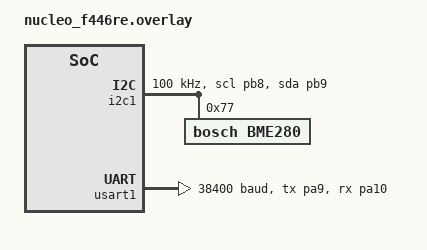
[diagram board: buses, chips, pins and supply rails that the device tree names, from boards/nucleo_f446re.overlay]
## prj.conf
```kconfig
CONFIG_SENSOR=y
CONFIG_SENSOR_ASYNC_API=y
CONFIG_NEWLIB_LIBC=y
CONFIG_NEWLIB_LIBC_FLOAT_PRINTF=y
CONFIG_UART_INTERRUPT_DRIVEN=y
CONFIG_MAIN_STACK_SIZE=4096
```

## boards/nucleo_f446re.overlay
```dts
/* File: nucleo_f446re.overlay */
/ {
    zephyr {
        chosen {
           zephyr,sensor = &bme280;
        };
     };
};

/* I2C1 On NUCLEO-F446RE (pins PB8=SCL, PB9=SDA) */
&i2c1 {
     status = "okay";
     clock-frequency = <I2C_BITRATE_STANDARD>;  /*100 kHz */
     pinctrl-0 = <&i2c1_scl_pb8 &i2c1_sda_pb9>;
     pinctrl-names = "default";

     bme280: bme280@77 {
        compatible = "bosch,bme280";
        reg = <0x77>;                   /*I2C address:0x76 (use 0x77 if needed) */
        label = "BME280";
     };
};
/* USART1 on NUCLEO-F446RE (pins PA9=TX, PA10=RX) — WE10 WiFi module */
&usart1 {
    status = "okay";
    current-speed = <38400>;   /* set to WE10's actual baud rate */
    pinctrl-0 = <&usart1_tx_pa9 &usart1_rx_pa10>;
    pinctrl-names = "default";
};
```

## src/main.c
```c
/*
 * Copyright (c) 2012-2014 Wind River Systems, Inc.
 * Copyright (c) 2021 Nordic Semiconductor ASA
 *
 * SPDX-License-Identifier: Apache-2.0
 */
#include <zephyr/kernel.h>
#include <zephyr/device.h>
#include <zephyr/devicetree.h>
#include <zephyr/drivers/sensor.h>
#include <zephyr/drivers/sensor_data_types.h>
#include <zephyr/rtio/rtio.h>
#include <zephyr/dsp/print_format.h>
#include <math.h>
#include <stdio.h>

#include "we10.h"

#define SEA_LEVEL_PRESSURE_HPA 1013.25



#define WIFI_SSID     "Hero"
#define WIFI_PASSWORD "hero1234"

#define MQTT_CLIENT_ID "mqtt-dokulamohitkumar-9wkkrs"
#define MQTT_BROKER    "dev.rightech.io"
#define MQTT_PORT      1883

const struct device *const dev = DEVICE_DT_GET_ANY(bosch_bme280);

SENSOR_DT_READ_IODEV(iodev, DT_COMPAT_GET_ANY_STATUS_OKAY(bosch_bme280),
                {SENSOR_CHAN_AMBIENT_TEMP, 0},
                {SENSOR_CHAN_PRESS, 0});

RTIO_DEFINE(ctx, 1, 1);

static const struct device *check_bmp280_device(void)
{
        if (dev == NULL) {
                printk("\nError: no device found.\n");
                return NULL;
        }
        if (!device_is_ready(dev)) {
                printk("\nError: Device \"%s\" is not ready; "
                       "check the driver initialization logs for errors.\n",
                       dev->name);
                return NULL;
        }
        printk("Found device \"%s\", getting sensor data\n", dev->name);
        return dev;
}

static double q31_to_double(int32_t q, int8_t shift)
{
        return (double)q * pow(2.0, shift - 31);
}

static double calculate_altitude(double pressure_hpa)
{
        return 44330.0 * (1.0 - pow(pressure_hpa / SEA_LEVEL_PRESSURE_HPA, 1.0 / 5.255));
}

static int we10_setup(void)
{
        int ret;

        ret = we10_init();
        if (ret != 0) {
                printk("WE10: init failed: %d\n", ret);
                return ret;
        }

        printk("WE10: waiting for module ready...\n");
        ret = we10_wait_ready(5000);
        if (ret != 0) {
                printk("WE10: module did not report ready: %d\n", ret);
                return ret;
        }

        printk("WE10: connecting to WiFi \"%s\"...\n", WIFI_SSID);
        ret = we10_connect_wifi(WIFI_SSID, WIFI_PASSWORD, 15000);
        if (ret != 0) {
                printk("WE10: WiFi connect failed: %d\n", ret);
                return ret;
        }

        printk("WE10: connecting to MQTT broker \"%s\"...\n", MQTT_BROKER);
        ret = we10_mqtt_connect(MQTT_CLIENT_ID, MQTT_BROKER, MQTT_PORT, 10000);
        if (ret != 0) {
                printk("WE10: MQTT connect failed: %d\n", ret);
                return ret;
        }

        printk("WE10: MQTT connected, ready to publish\n");
        return 0;
}

int main(void)
{
        const struct device *dev = check_bmp280_device();

        if (dev == NULL) {
                return 0;
        }

        bool mqtt_ready = (we10_setup() == 0);

        if (!mqtt_ready) {
                printk("WE10: continuing without MQTT publish (sensor-only mode)\n");
        }

        while (1) {
                uint8_t buf[128];
                int rc = sensor_read(&iodev, &ctx, buf, 128);

                if (rc != 0) {
                        printk("%s: sensor_read() failed: %d\n", dev->name, rc);
                        return rc;
                }

                const struct sensor_decoder_api *decoder;

                rc = sensor_get_decoder(dev, &decoder);
                if (rc != 0) {
                        printk("%s: sensor_get_decode() failed: %d\n", dev->name, rc);
                        return rc;
                }

                uint32_t temp_fit = 0;
                struct sensor_q31_data temp_data = {0};

                decoder->decode(buf,
                        (struct sensor_chan_spec) {SENSOR_CHAN_AMBIENT_TEMP, 0},
                        &temp_fit, 1, &temp_data);

                uint32_t press_fit = 0;
                struct sensor_q31_data press_data = {0};

                decoder->decode(buf,
                        (struct sensor_chan_spec) {SENSOR_CHAN_PRESS, 0},
                        &press_fit, 1, &press_data);

                double pressure_kpa = q31_to_double(press_data.readings[0].pressure,
                                                     press_data.shift);
                double pressure_hpa = pressure_kpa * 10.0;
                double altitude = calculate_altitude(pressure_hpa);

                printk("temp: %s%d.%d; press: %s%d.%d kPa; altitude: %d.%d m\n",
                        PRIq_arg(temp_data.readings[0].temperature, 6, temp_data.shift),
                        PRIq_arg(press_data.readings[0].pressure, 6, press_data.shift),
                        (int)altitude, (int)((altitude - (int)altitude) * 100));

                if (mqtt_ready) {
                        char payload[32];
                        double temp_c = q31_to_double(temp_data.readings[0].temperature,
                                                       temp_data.shift);

                        snprintf(payload, sizeof(payload), "%d.%d",
                                (int)temp_c,
                                (int)((temp_c - (int)temp_c) * 100));
                        we10_mqtt_publish("base/state/temperature", payload);

                        snprintf(payload, sizeof(payload), "%d.%d",
                                 (int)pressure_hpa,
                                 (int)((pressure_hpa - (int)pressure_hpa) * 100));
                        we10_mqtt_publish("base/state/pressure", payload);

                        snprintf(payload, sizeof(payload), "%d.%d",
                                 (int)altitude,
                                 (int)((altitude - (int)altitude) * 100));
                        we10_mqtt_publish("base/state/altitude", payload);
                }

                k_sleep(K_MSEC(1000));
        }

        return 0;
}
```

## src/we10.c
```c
#include "we10.h"
#include <zephyr/drivers/uart.h>
#include <zephyr/device.h>
#include <string.h>
#include <stdio.h>
#include <zephyr/sys/printk.h>

#define WE10_UART_NODE DT_NODELABEL(usart1)
#define WE10_LINE_MAX  256

static const struct device *we10_uart = DEVICE_DT_GET(WE10_UART_NODE);

int we10_init(void)
{
        if (!device_is_ready(we10_uart)) {
                return -ENODEV;
        }
        return 0;
}

static void we10_send_raw(const char *cmd)
{
        for (size_t i = 0; i < strlen(cmd); i++) {
                uart_poll_out(we10_uart, cmd[i]);
        }
}

/* Reads and logs whatever comes back for a fixed window, without requiring
 * a specific prefix. Mirrors the CubeIDE version's forgiving behavior. */
static void we10_drain_response(uint32_t window_ms)
{
        char line[WE10_LINE_MAX];
        size_t pos = 0;
        int64_t deadline = k_uptime_get() + window_ms;

        while (k_uptime_get() < deadline) {
                unsigned char c;

                if (uart_poll_in(we10_uart, &c) == 0) {
                        if (c == '\n') {
                                line[pos] = '\0';
                                if (pos > 0) {
                                        printk("WE10 <- %s\n", line);
                                }
                                pos = 0;
                        } else if (c != '\r' && pos < sizeof(line) - 1) {
                                line[pos++] = c;
                        }
                } else {
                        k_msleep(5);
                }
        }
}

static void we10_send_cmd(const char *cmd, uint32_t response_window_ms)
{
        printk("WE10 -> %s", cmd);
        we10_send_raw(cmd);
        we10_drain_response(response_window_ms);
}

int we10_wait_ready(uint32_t timeout_ms)
{
        ARG_UNUSED(timeout_ms);

        we10_send_cmd("CMD+RESET\r\n", 5000);
        return 0;
}

int we10_connect_wifi(const char *ssid, const char *password, uint32_t timeout_ms)
{
        ARG_UNUSED(timeout_ms);
        char cmd[128];

        we10_send_cmd("CMD+WIFIMODE=1\r\n", 2000);

        snprintf(cmd, sizeof(cmd), "CMD+CONTOAP=%s,%s\r\n", ssid, password);
        we10_send_cmd(cmd, 5000);

        we10_send_cmd("CMD?WIFI\r\n", 2000);

        return 0;
}

int we10_mqtt_connect(const char *client_id, const char *broker, uint16_t port,
                       uint32_t timeout_ms)
{
        ARG_UNUSED(timeout_ms);
        char cmd[160];

        snprintf(cmd, sizeof(cmd), "CMD+MQTTNETCFG=%s,%u\r\n", broker, port);
        we10_send_cmd(cmd, 2000);

        snprintf(cmd, sizeof(cmd), "CMD+MQTTCONCFG=3,%s,,,,,,,,,\r\n", client_id);
        we10_send_cmd(cmd, 2000);

        we10_send_cmd("CMD+MQTTSTART=1\r\n", 5000);

        return 0;
}

int we10_mqtt_publish(const char *topic, const char *data)
{
        char cmd[300];

        snprintf(cmd, sizeof(cmd), "CMD+MQTTPUB=%s,%s\r\n", topic, data);
        we10_send_cmd(cmd, 2000);

        return 0;
}
```

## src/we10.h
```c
#ifndef WE10_H_
#define WE10_H_

#include <zephyr/kernel.h>

int we10_init(void);
int we10_wait_ready(uint32_t timeout_ms);
int we10_connect_wifi(const char *ssid, const char *password,uint32_t timeout_ms);
int we10_mqtt_connect(const char *client_id,const char *broker,uint16_t port, uint32_t timeout_ms);
int we10_mqtt_publish(const char *topic,const char *data);

#endif
```
